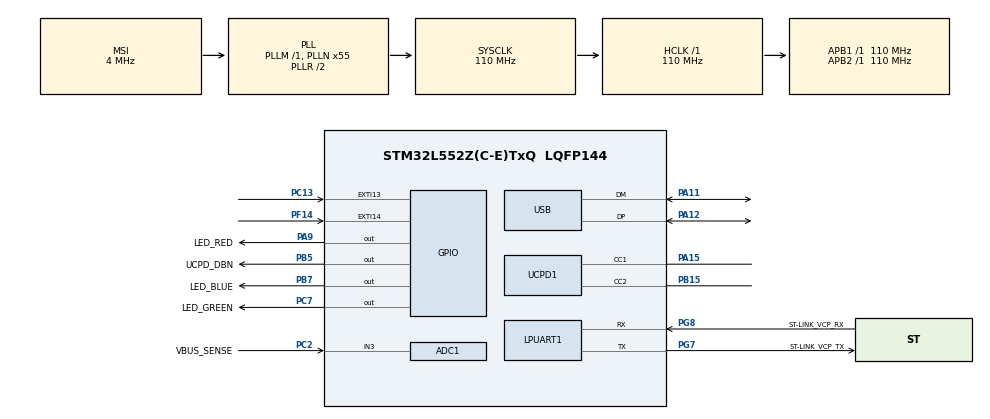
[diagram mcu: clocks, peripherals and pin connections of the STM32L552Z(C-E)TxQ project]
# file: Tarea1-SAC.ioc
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ADC1.Channel-0\#ChannelRegularConversion=ADC_CHANNEL_3
ADC1.NbrOfConversionFlag=1
ADC1.OffsetNumber-0\#ChannelRegularConversion=ADC_OFFSET_NONE
ADC1.Rank-0\#ChannelRegularConversion=1
ADC1.SamplingTime-0\#ChannelRegularConversion=ADC_SAMPLETIME_2CYCLES_5
ADC1.master=1
Mcu.Family=STM32L5
Mcu.Name=STM32L552Z(C-E)TxQ
Mcu.Package=LQFP144
Mcu.TrustZone=disable
NVIC.PriorityGroup=NVIC_PRIORITYGROUP_3
PA11.Mode=Device
PA11.Signal=USB_DM
PA12.Mode=Device
PA12.Signal=USB_DP
PA13\ (JTMS/SWDIO).Mode=Trace_Asynchronous_SW
PA13\ (JTMS/SWDIO).Signal=DEBUG_JTMS-SWDIO
PA14\ (JTCK/SWCLK).Mode=Trace_Asynchronous_SW
PA14\ (JTCK/SWCLK).Signal=DEBUG_JTCK-SWCLK
PA15\ (JTDI).Mode=Source_AllSignals
PA15\ (JTDI).Signal=UCPD1_CC1
PA9.GPIO_Label=LED_RED
PA9.Signal=GPIO_Output
PB15.Mode=Source_AllSignals
PB15.Signal=UCPD1_CC2
PB3\ (JTDO/TRACESWO).Mode=Trace_Asynchronous_SW
PB3\ (JTDO/TRACESWO).Signal=DEBUG_JTDO-SWO
PB5.GPIO_Label=UCPD_DBN
PB5.Signal=GPIO_Output
PB7.GPIO_Label=LED_BLUE
PB7.Signal=GPIO_Output
PC13.Signal=GPXTI13
PC14-OSC32_IN\ (PC14).Mode=LSE-External-Oscillator
PC14-OSC32_IN\ (PC14).Signal=RCC_OSC32_IN
PC15-OSC32_OUT\ (PC15).Mode=LSE-External-Oscillator
PC15-OSC32_OUT\ (PC15).Signal=RCC_OSC32_OUT
PC2.GPIO_Label=VBUS_SENSE
PC2.Signal=ADCx_IN3
PC7.GPIO_Label=LED_GREEN
PC7.Signal=GPIO_Output
PF14.Signal=GPXTI14
PG7.GPIO_Label=ST-LINK_VCP_TX
PG7.Mode=Asynchronous
PG7.Signal=LPUART1_TX
PG8.GPIO_Label=ST-LINK_VCP_RX
PG8.Mode=Asynchronous
PG8.Signal=LPUART1_RX
ProjectManager.HeapSize=0x200
ProjectManager.StackSize=0x400
ProjectManager.TargetToolchain=STM32CubeIDE
RCC.ADCCLockSelection=RCC_ADCCLKSOURCE_SYSCLK
RCC.ADCFreq_Value=110000000
RCC.AHBFreq_Value=110000000
RCC.APB1Freq_Value=110000000
RCC.APB1TimFreq_Value=110000000
RCC.APB2Freq_Value=110000000
RCC.APB2TimFreq_Value=110000000
RCC.CK48CLockSelection=RCC_USBCLKSOURCE_HSI48
RCC.CortexFreq_Value=110000000
RCC.HCLKFreq_Value=110000000
RCC.HSE_VALUE=8000000
RCC.HSI48_VALUE=48000000
RCC.HSI_VALUE=16000000
RCC.MSI_VALUE=4000000
RCC.PLLN=55
RCC.PLLSAI1N=24
RCC.RTCClockSelection=RCC_RTCCLKSOURCE_LSE
RCC.SYSCLKFreq_VALUE=110000000
RCC.SYSCLKSource=RCC_SYSCLKSOURCE_PLLCLK
RCC.USBFreq_Value=48000000
RCC.VCOOutputFreq_Value=220000000
SH.ADCx_IN3.0=ADC1_IN3,IN3-Single-Ended
VP_ICACHE_VS_ICACHE.Mode=DirectMappedCache
VP_PWR_VS_DBSignals.Mode=DisableDeadBatterySignals
VP_RTC_VS_RTC_Activate.Mode=RTC_Enabled
board=NUCLEO-L552ZE-Q

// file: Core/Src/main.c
/* USER CODE BEGIN Header */
/**
  ******************************************************************************
  * @file           : main.c
  * @brief          : Main program body
  ******************************************************************************
  * @attention
  *
  * Copyright (c) 2024 STMicroelectronics.
  * All rights reserved.
  *
  * This software is licensed under terms that can be found in the LICENSE file
  * in the root directory of this software component.
  * If no LICENSE file comes with this software, it is provided AS-IS.
  *
  ******************************************************************************
  */
/* USER CODE END Header */
#include "main.h"

ADC_HandleTypeDef hadc1;

UART_HandleTypeDef hlpuart1;

RTC_HandleTypeDef hrtc;

PCD_HandleTypeDef hpcd_USB_FS;

void SystemClock_Config(void);
static void MX_GPIO_Init(void);
static void MX_ADC1_Init(void);
static void MX_ICACHE_Init(void);
static void MX_LPUART1_UART_Init(void);
static void MX_RTC_Init(void);
static void MX_UCPD1_Init(void);
static void MX_USB_PCD_Init(void);

/* USER CODE BEGIN 0 */
uint16_t estado_boton1 = 0;
uint16_t estado_boton2_actual = 0;
uint16_t estado_boton2_anterior = 0;
/* USER CODE END 0 */

int main(void)
{

  /* MCU Configuration--------------------------------------------------------*/

  /* Reset of all peripherals, Initializes the Flash interface and the Systick. */
  HAL_Init();

  /* Configure the system clock */
  SystemClock_Config();

  /* Initialize all configured peripherals */
  MX_GPIO_Init();
  MX_ADC1_Init();
  MX_ICACHE_Init();
  MX_LPUART1_UART_Init();
  MX_RTC_Init();
  MX_UCPD1_Init();
  MX_USB_PCD_Init();

  /* Infinite loop */
  while (1)
  {

    /* USER CODE BEGIN 3 */
	  // ### COMENTARIOS ACERCA DEL CÓDIGO Y USO ###
//	  	  -	En vez de usar las interrupciones se usa la librería HAL
//		  - Los Delay de 200 y 300 son para ajustar los 500ms de los 2HZ
//		  - Si apagar el LED con el primer botón, a veces hay que pulsar dos veces seguidas el botón porque no coge bien el input
	  if(HAL_GPIO_ReadPin(GPIOC,GPIO_PIN_13) == 1) // Cuando el botón es pulsado
	 	  {
	 		  estado_boton1 = estado_boton1 == 0?1:0; // Complementamos el estado en el que se encontrase
	 	  }
	  else
	  {
		  if(HAL_GPIO_ReadPin(GPIOF,GPIO_PIN_14) == 1)
		  {
			  estado_boton2_actual = estado_boton2_anterior == 0?1:0; // Complementamos el estado en el que se encontrase
		  }
	  }

	 	  HAL_Delay(200); // Delay para actualizar el valor del estado del botón

	 	  if(estado_boton1 == 1)
	 	  {
	 		  HAL_GPIO_TogglePin(GPIOC, GPIO_PIN_7); // Encendemos y apagamos el LED
	 		  HAL_Delay(300); // La suma de los Delays es 500ms = 0.5s = 2HZ
	 		 if(estado_boton2_actual != estado_boton2_anterior) //Si cambia el estado del segundo botón
	 		 {
				  HAL_GPIO_WritePin(GPIOC, GPIO_PIN_7, GPIO_PIN_RESET); //Apago el pin
				  estado_boton1 = 0; //Forzamos el apagado del led
				  estado_boton2_anterior = estado_boton2_actual; //Actualizo el estado del botón 2
			  }
	 	  }
	 	  else
	 	  {
	 		  HAL_GPIO_WritePin(GPIOC,GPIO_PIN_7,RESET); // Si estado_boton1 == 0, apagamos el pin
	 		  if(estado_boton2_actual != estado_boton2_anterior) // Si cambia el estado del segundo botón
	 		  {
	 			  for(int i = 0; i < 3; i++) // Parpadea 3 veces
	 			  {
	 				 HAL_GPIO_TogglePin(GPIOC, GPIO_PIN_7);
	 				 HAL_Delay(500);
	 			  }

			  }
			  estado_boton2_anterior = estado_boton2_actual; //Actualizo el estado del botón 2
	 	  }
  }
  /* USER CODE END 3 */
}

void SystemClock_Config(void)
{
  RCC_OscInitTypeDef RCC_OscInitStruct = {0};
  RCC_ClkInitTypeDef RCC_ClkInitStruct = {0};

  /** Configure the main internal regulator output voltage
  */
  if (HAL_PWREx_ControlVoltageScaling(PWR_REGULATOR_VOLTAGE_SCALE0) != HAL_OK)
  {
    Error_Handler();
  }

  /** Configure LSE Drive Capability
  */
  HAL_PWR_EnableBkUpAccess();
  __HAL_RCC_LSEDRIVE_CONFIG(RCC_LSEDRIVE_LOW);

  /** Initializes the RCC Oscillators according to the specified parameters
  * in the RCC_OscInitTypeDef structure.
  */
  RCC_OscInitStruct.OscillatorType = RCC_OSCILLATORTYPE_HSI48|RCC_OSCILLATORTYPE_HSI
                              |RCC_OSCILLATORTYPE_LSE|RCC_OSCILLATORTYPE_MSI;
  RCC_OscInitStruct.LSEState = RCC_LSE_ON;
  RCC_OscInitStruct.HSIState = RCC_HSI_ON;
  RCC_OscInitStruct.HSI48State = RCC_HSI48_ON;
  RCC_OscInitStruct.HSICalibrationValue = RCC_HSICALIBRATION_DEFAULT;
  RCC_OscInitStruct.MSIState = RCC_MSI_ON;
  RCC_OscInitStruct.MSICalibrationValue = RCC_MSICALIBRATION_DEFAULT;
  RCC_OscInitStruct.MSIClockRange = RCC_MSIRANGE_6;
  RCC_OscInitStruct.PLL.PLLState = RCC_PLL_ON;
  RCC_OscInitStruct.PLL.PLLSource = RCC_PLLSOURCE_MSI;
  RCC_OscInitStruct.PLL.PLLM = 1;
  RCC_OscInitStruct.PLL.PLLN = 55;
  RCC_OscInitStruct.PLL.PLLP = RCC_PLLP_DIV7;
  RCC_OscInitStruct.PLL.PLLQ = RCC_PLLQ_DIV2;
  RCC_OscInitStruct.PLL.PLLR = RCC_PLLR_DIV2;
  if (HAL_RCC_OscConfig(&RCC_OscInitStruct) != HAL_OK)
  {
    Error_Handler();
  }

  /** Initializes the CPU, AHB and APB buses clocks
  */
  RCC_ClkInitStruct.ClockType = RCC_CLOCKTYPE_HCLK|RCC_CLOCKTYPE_SYSCLK
                              |RCC_CLOCKTYPE_PCLK1|RCC_CLOCKTYPE_PCLK2;
  RCC_ClkInitStruct.SYSCLKSource = RCC_SYSCLKSOURCE_PLLCLK;
  RCC_ClkInitStruct.AHBCLKDivider = RCC_SYSCLK_DIV1;
  RCC_ClkInitStruct.APB1CLKDivider = RCC_HCLK_DIV1;
  RCC_ClkInitStruct.APB2CLKDivider = RCC_HCLK_DIV1;

  if (HAL_RCC_ClockConfig(&RCC_ClkInitStruct, FLASH_LATENCY_5) != HAL_OK)
  {
    Error_Handler();
  }
}

static void MX_ADC1_Init(void)
{

  ADC_MultiModeTypeDef multimode = {0};
  ADC_ChannelConfTypeDef sConfig = {0};

  /** Common config
  */
  hadc1.Instance = ADC1;
  hadc1.Init.ClockPrescaler = ADC_CLOCK_ASYNC_DIV1;
  hadc1.Init.Resolution = ADC_RESOLUTION_12B;
  hadc1.Init.DataAlign = ADC_DATAALIGN_RIGHT;
  hadc1.Init.ScanConvMode = ADC_SCAN_DISABLE;
  hadc1.Init.EOCSelection = ADC_EOC_SINGLE_CONV;
  hadc1.Init.LowPowerAutoWait = DISABLE;
  hadc1.Init.ContinuousConvMode = DISABLE;
  hadc1.Init.NbrOfConversion = 1;
  hadc1.Init.DiscontinuousConvMode = DISABLE;
  hadc1.Init.ExternalTrigConv = ADC_SOFTWARE_START;
  hadc1.Init.ExternalTrigConvEdge = ADC_EXTERNALTRIGCONVEDGE_NONE;
  hadc1.Init.DMAContinuousRequests = DISABLE;
  hadc1.Init.Overrun = ADC_OVR_DATA_PRESERVED;
  hadc1.Init.OversamplingMode = DISABLE;
  if (HAL_ADC_Init(&hadc1) != HAL_OK)
  {
    Error_Handler();
  }

  /** Configure the ADC multi-mode
  */
  multimode.Mode = ADC_MODE_INDEPENDENT;
  if (HAL_ADCEx_MultiModeConfigChannel(&hadc1, &multimode) != HAL_OK)
  {
    Error_Handler();
  }

  /** Configure Regular Channel
  */
  sConfig.Channel = ADC_CHANNEL_3;
  sConfig.Rank = ADC_REGULAR_RANK_1;
  sConfig.SamplingTime = ADC_SAMPLETIME_2CYCLES_5;
  sConfig.SingleDiff = ADC_SINGLE_ENDED;
  sConfig.OffsetNumber = ADC_OFFSET_NONE;
  sConfig.Offset = 0;
  if (HAL_ADC_ConfigChannel(&hadc1, &sConfig) != HAL_OK)
  {
    Error_Handler();
  }

}

static void MX_ICACHE_Init(void)
{

  /** Enable instruction cache in 1-way (direct mapped cache)
  */
  if (HAL_ICACHE_ConfigAssociativityMode(ICACHE_1WAY) != HAL_OK)
  {
    Error_Handler();
  }
  if (HAL_ICACHE_Enable() != HAL_OK)
  {
    Error_Handler();
  }

}

static void MX_LPUART1_UART_Init(void)
{

  hlpuart1.Instance = LPUART1;
  hlpuart1.Init.BaudRate = 209700;
  hlpuart1.Init.WordLength = UART_WORDLENGTH_8B;
  hlpuart1.Init.StopBits = UART_STOPBITS_1;
  hlpuart1.Init.Parity = UART_PARITY_NONE;
  hlpuart1.Init.Mode = UART_MODE_TX_RX;
  hlpuart1.Init.HwFlowCtl = UART_HWCONTROL_NONE;
  hlpuart1.Init.OneBitSampling = UART_ONE_BIT_SAMPLE_DISABLE;
  hlpuart1.Init.ClockPrescaler = UART_PRESCALER_DIV1;
  hlpuart1.AdvancedInit.AdvFeatureInit = UART_ADVFEATURE_NO_INIT;
  hlpuart1.FifoMode = UART_FIFOMODE_DISABLE;
  if (HAL_UART_Init(&hlpuart1) != HAL_OK)
  {
    Error_Handler();
  }
  if (HAL_UARTEx_SetTxFifoThreshold(&hlpuart1, UART_TXFIFO_THRESHOLD_1_8) != HAL_OK)
  {
    Error_Handler();
  }
  if (HAL_UARTEx_SetRxFifoThreshold(&hlpuart1, UART_RXFIFO_THRESHOLD_1_8) != HAL_OK)
  {
    Error_Handler();
  }
  if (HAL_UARTEx_DisableFifoMode(&hlpuart1) != HAL_OK)
  {
    Error_Handler();
  }

}

static void MX_RTC_Init(void)
{

  RTC_PrivilegeStateTypeDef privilegeState = {0};

  /** Initialize RTC Only
  */
  hrtc.Instance = RTC;
  hrtc.Init.HourFormat = RTC_HOURFORMAT_24;
  hrtc.Init.AsynchPrediv = 127;
  hrtc.Init.SynchPrediv = 255;
  hrtc.Init.OutPut = RTC_OUTPUT_DISABLE;
  hrtc.Init.OutPutRemap = RTC_OUTPUT_REMAP_NONE;
  hrtc.Init.OutPutPolarity = RTC_OUTPUT_POLARITY_HIGH;
  hrtc.Init.OutPutType = RTC_OUTPUT_TYPE_OPENDRAIN;
  hrtc.Init.OutPutPullUp = RTC_OUTPUT_PULLUP_NONE;
  if (HAL_RTC_Init(&hrtc) != HAL_OK)
  {
    Error_Handler();
  }
  privilegeState.rtcPrivilegeFull = RTC_PRIVILEGE_FULL_NO;
  privilegeState.backupRegisterPrivZone = RTC_PRIVILEGE_BKUP_ZONE_NONE;
  privilegeState.backupRegisterStartZone2 = RTC_BKP_DR0;
  privilegeState.backupRegisterStartZone3 = RTC_BKP_DR0;
  if (HAL_RTCEx_PrivilegeModeSet(&hrtc, &privilegeState) != HAL_OK)
  {
    Error_Handler();
  }

}

static void MX_UCPD1_Init(void)
{

  LL_GPIO_InitTypeDef GPIO_InitStruct = {0};

  /* Peripheral clock enable */
  LL_APB1_GRP2_EnableClock(LL_APB1_GRP2_PERIPH_UCPD1);

  LL_AHB2_GRP1_EnableClock(LL_AHB2_GRP1_PERIPH_GPIOB);
  LL_AHB2_GRP1_EnableClock(LL_AHB2_GRP1_PERIPH_GPIOA);
  /**UCPD1 GPIO Configuration
  PB15   ------> UCPD1_CC2
  PA15 (JTDI)   ------> UCPD1_CC1
  */
  GPIO_InitStruct.Pin = LL_GPIO_PIN_15;
  GPIO_InitStruct.Mode = LL_GPIO_MODE_ANALOG;
  GPIO_InitStruct.Pull = LL_GPIO_PULL_NO;
  LL_GPIO_Init(GPIOB, &GPIO_InitStruct);

  GPIO_InitStruct.Pin = LL_GPIO_PIN_15;
  GPIO_InitStruct.Mode = LL_GPIO_MODE_ANALOG;
  GPIO_InitStruct.Pull = LL_GPIO_PULL_NO;
  LL_GPIO_Init(GPIOA, &GPIO_InitStruct);

}

static void MX_USB_PCD_Init(void)
{

  hpcd_USB_FS.Instance = USB;
  hpcd_USB_FS.Init.dev_endpoints = 8;
  hpcd_USB_FS.Init.speed = PCD_SPEED_FULL;
  hpcd_USB_FS.Init.phy_itface = PCD_PHY_EMBEDDED;
  hpcd_USB_FS.Init.Sof_enable = DISABLE;
  hpcd_USB_FS.Init.low_power_enable = DISABLE;
  hpcd_USB_FS.Init.lpm_enable = DISABLE;
  hpcd_USB_FS.Init.battery_charging_enable = DISABLE;
  if (HAL_PCD_Init(&hpcd_USB_FS) != HAL_OK)
  {
    Error_Handler();
  }

}

static void MX_GPIO_Init(void)
{
  GPIO_InitTypeDef GPIO_InitStruct = {0};

  /* GPIO Ports Clock Enable */
  __HAL_RCC_GPIOC_CLK_ENABLE();
  __HAL_RCC_GPIOF_CLK_ENABLE();
  __HAL_RCC_GPIOB_CLK_ENABLE();
  __HAL_RCC_GPIOG_CLK_ENABLE();
  HAL_PWREx_EnableVddIO2();
  __HAL_RCC_GPIOA_CLK_ENABLE();

  /*Configure GPIO pin Output Level */
  HAL_GPIO_WritePin(LED_GREEN_GPIO_Port, LED_GREEN_Pin, GPIO_PIN_RESET);

  /*Configure GPIO pin Output Level */
  HAL_GPIO_WritePin(LED_RED_GPIO_Port, LED_RED_Pin, GPIO_PIN_RESET);

  /*Configure GPIO pin Output Level */
  HAL_GPIO_WritePin(GPIOB, UCPD_DBN_Pin|LED_BLUE_Pin, GPIO_PIN_RESET);

  /*Configure GPIO pin : PC13 */
  GPIO_InitStruct.Pin = GPIO_PIN_13;
  GPIO_InitStruct.Mode = GPIO_MODE_IT_RISING;
  GPIO_InitStruct.Pull = GPIO_NOPULL;
  HAL_GPIO_Init(GPIOC, &GPIO_InitStruct);

  /*Configure GPIO pin : PF14 */
  GPIO_InitStruct.Pin = GPIO_PIN_14;
  GPIO_InitStruct.Mode = GPIO_MODE_IT_RISING;
  GPIO_InitStruct.Pull = GPIO_NOPULL;
  HAL_GPIO_Init(GPIOF, &GPIO_InitStruct);

  /*Configure GPIO pin : LED_GREEN_Pin */
  GPIO_InitStruct.Pin = LED_GREEN_Pin;
  GPIO_InitStruct.Mode = GPIO_MODE_OUTPUT_PP;
  GPIO_InitStruct.Pull = GPIO_NOPULL;
  GPIO_InitStruct.Speed = GPIO_SPEED_FREQ_LOW;
  HAL_GPIO_Init(LED_GREEN_GPIO_Port, &GPIO_InitStruct);

  /*Configure GPIO pin : LED_RED_Pin */
  GPIO_InitStruct.Pin = LED_RED_Pin;
  GPIO_InitStruct.Mode = GPIO_MODE_OUTPUT_PP;
  GPIO_InitStruct.Pull = GPIO_NOPULL;
  GPIO_InitStruct.Speed = GPIO_SPEED_FREQ_LOW;
  HAL_GPIO_Init(LED_RED_GPIO_Port, &GPIO_InitStruct);

  /*Configure GPIO pins : UCPD_DBN_Pin LED_BLUE_Pin */
  GPIO_InitStruct.Pin = UCPD_DBN_Pin|LED_BLUE_Pin;
  GPIO_InitStruct.Mode = GPIO_MODE_OUTPUT_PP;
  GPIO_InitStruct.Pull = GPIO_NOPULL;
  GPIO_InitStruct.Speed = GPIO_SPEED_FREQ_LOW;
  HAL_GPIO_Init(GPIOB, &GPIO_InitStruct);

}

void Error_Handler(void)
{
  __disable_irq();
  while (1)
  {
  }
}
